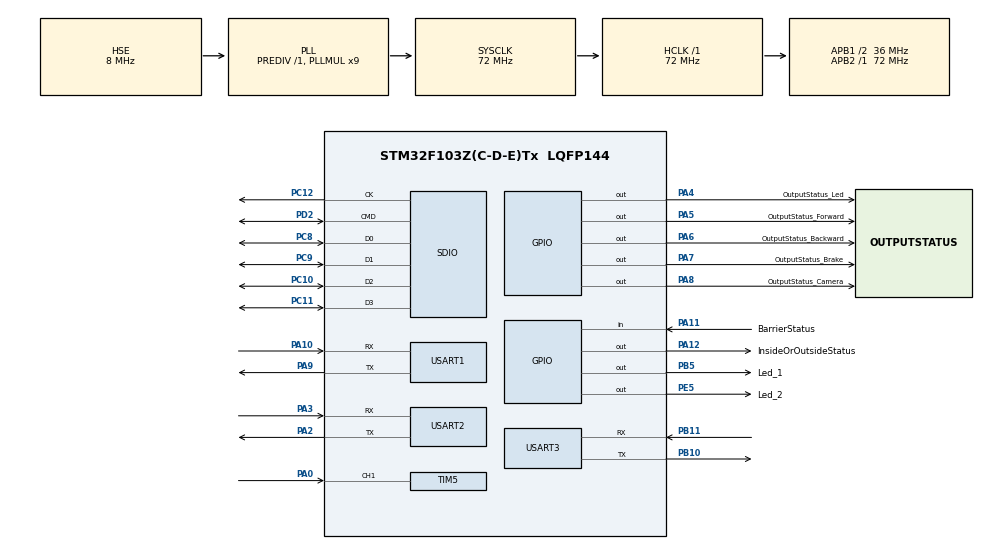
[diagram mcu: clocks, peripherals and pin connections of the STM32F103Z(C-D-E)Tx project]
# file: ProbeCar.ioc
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Dma.Request0=SDIO
Dma.SDIO.0.Direction=DMA_MEMORY_TO_PERIPH
Dma.SDIO.0.Instance=DMA2_Channel4
Dma.SDIO.0.MemDataAlignment=DMA_MDATAALIGN_WORD
Dma.SDIO.0.MemInc=DMA_MINC_ENABLE
Dma.SDIO.0.Mode=DMA_NORMAL
Dma.SDIO.0.PeriphDataAlignment=DMA_PDATAALIGN_WORD
Dma.SDIO.0.PeriphInc=DMA_PINC_DISABLE
Dma.SDIO.0.Priority=DMA_PRIORITY_VERY_HIGH
FATFS._CODE_PAGE=936
FATFS._USE_LFN=2
Mcu.Family=STM32F1
Mcu.Name=STM32F103Z(C-D-E)Tx
Mcu.Package=LQFP144
NVIC.DMA2_Channel4_5_IRQn=true\:3\:0\:true\:false\:true\:false
NVIC.PriorityGroup=NVIC_PRIORITYGROUP_4
NVIC.SDIO_IRQn=true\:1\:0\:true\:false\:true\:true
NVIC.TIM5_IRQn=true\:0\:0\:false\:false\:true\:true
NVIC.TIM6_IRQn=true\:0\:0\:false\:false\:true\:true
NVIC.USART2_IRQn=true\:0\:0\:false\:false\:true\:true
NVIC.USART3_IRQn=true\:0\:0\:false\:false\:true\:true
OSC_IN.Mode=HSE-External-Oscillator
OSC_IN.Signal=RCC_OSC_IN
OSC_OUT.Mode=HSE-External-Oscillator
OSC_OUT.Signal=RCC_OSC_OUT
PA0-WKUP.GPIO_PuPd=GPIO_PULLDOWN
PA0-WKUP.Signal=S_TIM5_CH1
PA10.Mode=Asynchronous
PA10.Signal=USART1_RX
PA11.GPIO_Label=BarrierStatus
PA11.GPIO_PuPd=GPIO_PULLDOWN
PA11.Signal=GPIO_Input
PA12.GPIO_Label=InsideOrOutsideStatus
PA12.GPIO_ModeDefaultOutputPP=GPIO_MODE_OUTPUT_PP
PA12.GPIO_PuPd=GPIO_PULLDOWN
PA12.GPIO_Speed=GPIO_SPEED_FREQ_HIGH
PA12.PinState=GPIO_PIN_SET
PA12.Signal=GPIO_Output
PA2.Mode=Asynchronous
PA2.Signal=USART2_TX
PA3.Mode=Asynchronous
PA3.Signal=USART2_RX
PA4.GPIO_Label=OutputStatus_Led
PA4.GPIO_ModeDefaultOutputPP=GPIO_MODE_OUTPUT_PP
PA4.GPIO_PuPd=GPIO_PULLUP
PA4.GPIO_Speed=GPIO_SPEED_FREQ_HIGH
PA4.PinState=GPIO_PIN_SET
PA4.Signal=GPIO_Output
PA5.GPIO_Label=OutputStatus_Forward
PA5.GPIO_PuPd=GPIO_PULLUP
PA5.GPIO_Speed=GPIO_SPEED_FREQ_HIGH
PA5.PinState=GPIO_PIN_SET
PA5.Signal=GPIO_Output
PA6.GPIO_Label=OutputStatus_Backward
PA6.GPIO_PuPd=GPIO_PULLUP
PA6.GPIO_Speed=GPIO_SPEED_FREQ_HIGH
PA6.PinState=GPIO_PIN_SET
PA6.Signal=GPIO_Output
PA7.GPIO_Label=OutputStatus_Brake
PA7.GPIO_PuPd=GPIO_PULLUP
PA7.GPIO_Speed=GPIO_SPEED_FREQ_HIGH
PA7.PinState=GPIO_PIN_SET
PA7.Signal=GPIO_Output
PA8.GPIO_Label=OutputStatus_Camera
PA8.GPIO_ModeDefaultOutputPP=GPIO_MODE_OUTPUT_PP
PA8.GPIO_PuPd=GPIO_PULLUP
PA8.GPIO_Speed=GPIO_SPEED_FREQ_HIGH
PA8.PinState=GPIO_PIN_SET
PA8.Signal=GPIO_Output
PA9.Mode=Asynchronous
PA9.Signal=USART1_TX
PB10.Mode=Asynchronous
PB10.Signal=USART3_TX
PB11.Mode=Asynchronous
PB11.Signal=USART3_RX
PB5.GPIO_Label=Led_1
PB5.GPIO_PuPd=GPIO_PULLUP
PB5.GPIO_Speed=GPIO_SPEED_FREQ_HIGH
PB5.PinState=GPIO_PIN_SET
PB5.Signal=GPIO_Output
PC10.Mode=SD_4_bits_Wide_bus
PC10.Signal=SDIO_D2
PC11.Mode=SD_4_bits_Wide_bus
PC11.Signal=SDIO_D3
PC12.Mode=SD_4_bits_Wide_bus
PC12.Signal=SDIO_CK
PC8.Mode=SD_4_bits_Wide_bus
PC8.Signal=SDIO_D0
PC9.Mode=SD_4_bits_Wide_bus
PC9.Signal=SDIO_D1
PD2.Mode=SD_4_bits_Wide_bus
PD2.Signal=SDIO_CMD
PE5.GPIO_Label=Led_2
PE5.GPIO_PuPd=GPIO_PULLUP
PE5.GPIO_Speed=GPIO_SPEED_FREQ_HIGH
PE5.PinState=GPIO_PIN_SET
PE5.Signal=GPIO_Output
ProjectManager.HeapSize=0x400
ProjectManager.StackSize=0x1000
ProjectManager.TargetToolchain=MDK-ARM V5
RCC.AHBFreq_Value=72000000
RCC.APB1CLKDivider=RCC_HCLK_DIV2
RCC.APB1Freq_Value=36000000
RCC.APB1TimFreq_Value=72000000
RCC.APB2Freq_Value=72000000
RCC.APB2TimFreq_Value=72000000
RCC.HCLKFreq_Value=72000000
RCC.PLLMUL=RCC_PLL_MUL9
RCC.PLLSourceVirtual=RCC_PLLSOURCE_HSE
RCC.SYSCLKFreq_VALUE=72000000
RCC.SYSCLKSource=RCC_SYSCLKSOURCE_PLLCLK
RCC.USBFreq_Value=72000000
SDIO.ClockDiv=4
SH.S_TIM5_CH1.0=TIM5_CH1,Input_Capture1_from_TI1
TIM5.Channel-Input_Capture1_from_TI1=TIM_CHANNEL_1
TIM5.Period=0xFFFF
TIM5.Prescaler=71
TIM6.Period=999
TIM6.Prescaler=71
USART1.VirtualMode=VM_ASYNC
USART2.VirtualMode=VM_ASYNC
USART3.VirtualMode=VM_ASYNC
VP_FATFS_VS_SDIO.Mode=SDIO
VP_SYS_VS_ND.Mode=No_Debug
VP_TIM5_VS_ClockSourceINT.Mode=Internal
VP_TIM6_VS_ClockSourceINT.Mode=Enable_Timer
board=custom

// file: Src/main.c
/**
  ******************************************************************************
  * @file           : main.c
  * @brief          : Main program body
  ******************************************************************************
  * This notice applies to any and all portions of this file
  * that are not between comment pairs USER CODE BEGIN and
  * USER CODE END. Other portions of this file, whether
  * inserted by the user or by software development tools
  * are owned by their respective copyright owners.
  *
  * Copyright (c) 2018 STMicroelectronics International N.V.
  * All rights reserved.
  *
  * Redistribution and use in source and binary forms, with or without
  * modification, are permitted, provided that the following conditions are met:
  *
  * 1. Redistribution of source code must retain the above copyright notice,
  *    this list of conditions and the following disclaimer.
  * 2. Redistributions in binary form must reproduce the above copyright notice,
  *    this list of conditions and the following disclaimer in the documentation
  *    and/or other materials provided with the distribution.
  * 3. Neither the name of STMicroelectronics nor the names of other
  *    contributors to this software may be used to endorse or promote products
  *    derived from this software without specific written permission.
  * 4. This software, including modifications and/or derivative works of this
  *    software, must execute solely and exclusively on microcontroller or
  *    microprocessor devices manufactured by or for STMicroelectronics.
  * 5. Redistribution and use of this software other than as permitted under
  *    this license is void and will automatically terminate your rights under
  *    this license.
  *
  * THIS SOFTWARE IS PROVIDED BY STMICROELECTRONICS AND CONTRIBUTORS "AS IS"
  * AND ANY EXPRESS, IMPLIED OR STATUTORY WARRANTIES, INCLUDING, BUT NOT
  *
  LIMITED TO, THE IMPLIED WARRANTIES OF MERCHANTABILITY, FITNESS FOR A
  * PARTICULAR PURPOSE AND NON-INFRINGEMENT OF THIRD PARTY INTELLECTUAL PROPERTY
  * RIGHTS ARE DISCLAIMED TO THE FULLEST EXTENT PERMITTED BY LAW. IN NO EVENT
  * SHALL STMICROELECTRONICS OR CONTRIBUTORS BE LIABLE FOR ANY DIRECT, INDIRECT,
  * INCIDENTAL, SPECIAL, EXEMPLARY, OR CONSEQUENTIAL DAMAGES (INCLUDING, BUT NOT
  * LIMITED TO, PROCUREMENT OF SUBSTITUTE GOODS OR SERVICES; LOSS OF USE, DATA,
  * OR PROFITS; OR BUSINESS INTERRUPTION) HOWEVER CAUSED AND ON ANY THEORY OF
  * LIABILITY, WHETHER IN CONTRACT, STRICT LIABILITY, OR TORT (INCLUDING
  * NEGLIGENCE OR OTHERWISE) ARISING IN ANY WAY OUT OF THE USE OF THIS SOFTWARE,
  * EVEN IF ADVISED OF THE POSSIBILITY OF SUCH DAMAGE.
  *
  ******************************************************************************
  */
#include "main.h"
#include "stm32f1xx_hal.h"
#include "dma.h"
#include "fatfs.h"
#include "sdio.h"
#include "tim.h"
#include "usart.h"
#include "gpio.h"

/* USER CODE BEGIN Includes */
#include "led.h"
#include "stdio.h"
#include "control.h"
/* USER CODE END Includes */

/* USER CODE BEGIN PV */
/* Private variables ---------------------------------------------------------*/
uint8_t aRxBuffer_1;			                  //接收中断缓冲
uint8_t Uart1_RxBuff[256];		              //接收缓冲
uint8_t Uart1_Rx_Cnt = 0;		                //接收缓冲计数
uint8_t aRxBuffer_2;			                  //接收中断缓冲
uint8_t Uart2_RxBuff[256];		              //接收缓冲
uint8_t Uart2_Rx_Cnt = 0;		                //接收缓冲计数
uint8_t aRxBuffer_3;			                  //接收中断缓冲
uint8_t Uart3_RxBuff[256];		              //接收缓冲
uint8_t Uart3_Rx_Cnt = 0;		                //接收缓冲计数

STRUCT_CAPTURE strCapture = { 0, 0, 0 };

uint32_t TimeCounter = 0,Time_Sec = 0;      //定义时间相关变量
uint16_t Height = 0;
float carSpeed,carSpeedLast,carDistance;    //定义小车速度、小车里程
uint8_t carStatus = 0;                      //小车状态,默认停止
uint8_t probeStatus = 0;                    //检测状态,默认无障碍
uint8_t sendListFlag = 0;
uint32_t sendListPage = 0;
uint16_t List[160];

uint8_t timeFlag = 0;

typedef enum {FAILED = 0, PASSED = !FAILED} TestStatus;
/* 私有宏定义 ----------------------------------------------------------------*/
#define BLOCK_SIZE            512         // SD卡块大小
#define NUMBER_OF_BLOCKS      8           // 测试块数量(小于15)
#define WRITE_READ_ADDRESS    0x00002000  // 测试读写地址

/* 私有变量 ------------------------------------------------------------------*/
__align(4) uint32_t Buffer_Block_Tx[BLOCK_SIZE*NUMBER_OF_BLOCKS]; // 写数据缓存
__align(4) uint32_t Buffer_Block_Rx[BLOCK_SIZE*NUMBER_OF_BLOCKS]; // 读数据缓存
HAL_StatusTypeDef sd_status;    // HAL库函数操作SD卡函数返回值：操作结果
TestStatus test_status;           // 数据测试结果

FATFS fs;                 // Work area (file system object) for logical drive
FIL fil;                  // file objects
uint32_t byteswritten;                /* File write counts */
uint32_t bytesread;                   /* File read counts */
uint8_t wtext[] = "障碍物检测位置列表"; /* File write buffer */
uint8_t SD_SendData[20] = {'\r','\n',' ',' ',' ',' ',' ',' ',':',' ',' ',' ',' ',' ',' ',' ',' ',' ',' ',' '};
/*---------------------------0----1---2---3---4---5---6---7---8---9--10--11--12--13--14--15--16--17--18--19--*/
uint8_t rtext[100];                     /* File read buffers */
char filename[] = "障碍物检测位置列表.txt";
extern DMA_HandleTypeDef hdma_sdio;

/* USER CODE END PV */

void SystemClock_Config(void);

/* USER CODE BEGIN PFP */
/* Private function prototypes -----------------------------------------------*/

HAL_StatusTypeDef SD_DMAConfigRx(SD_HandleTypeDef *hsd);
HAL_StatusTypeDef SD_DMAConfigTx(SD_HandleTypeDef *hsd);

/* USER CODE END PFP */

int main(void)
{
  /* USER CODE BEGIN 1 */
  uint32_t ulTmrClk, ulTime;
  /* USER CODE END 1 */

  /* MCU Configuration----------------------------------------------------------*/

  /* Reset of all peripherals, Initializes the Flash interface and the Systick. */
  HAL_Init();

  /* Configure the system clock */
  SystemClock_Config();

  /* Initialize all configured peripherals */
  MX_GPIO_Init();
  MX_DMA_Init();
  MX_TIM6_Init();
  MX_USART1_UART_Init();
  MX_USART2_UART_Init();
  MX_USART3_UART_Init();
  MX_TIM5_Init();
  MX_SDIO_SD_Init();
  MX_FATFS_Init();
  /* USER CODE BEGIN 2 */
	//HAL_UART_Receive_IT(&huart1, (uint8_t *)&aRxBuffer_1, 1);   //开启串口接收中断
	HAL_UART_Receive_IT(&huart2, (uint8_t *)&aRxBuffer_2, 1);     //开启串口接收中断
	HAL_UART_Receive_IT(&huart3, (uint8_t *)&aRxBuffer_3, 1);     //开启串口接收中断

  HAL_TIM_Base_Start_IT(&htim6);                                //使能TIM6定时器中断

  /* 获取定时器时钟周期 */
	ulTmrClk = HAL_RCC_GetHCLKFreq()/GENERAL_TIM_PRESCALER;
  /* 启动定时器 */
  HAL_TIM_Base_Start_IT(&htim5);
  /* 启动定时器通道输入捕获并开启中断 */
  HAL_TIM_IC_Start_IT(&htim5,GENERAL_TIM_CHANNELx);

  printf("System is Ok!\n");
  sendEnd();
  printf("page 0");                                             //初始化串口屏
  sendEnd();
  HAL_Delay(1000);HAL_Delay(1000);HAL_Delay(1000);HAL_Delay(1000);
  printf("t12.txt=\"SD卡错误！请检查SD卡\"");                                             //初始化串口屏
  sendEnd();
//  SD_EraseTest();
//  SD_Write_Read_Test();  3
  Fatfs_RW_test();
  sendEnd();
  printf("t12.txt=\"中铁障碍物探测车\"");                                             //初始化串口屏
  sendEnd();
  /* USER CODE END 2 */

  /* Infinite loop */
  /* USER CODE BEGIN WHILE */
  while (1)
  {
    if(strCapture.ucFinishFlag == 1 )
		{
      /* 计算高电平计数值 */
			ulTime = strCapture .usPeriod * 0xFFFF + strCapture .usCtr;
			/* 打印高电平脉宽时间 */
			printf ( ">>测得高电平脉宽时间：%d.%d s\n", ulTime / ulTmrClk, ulTime % ulTmrClk );
			carSpeed = UnitWheelLength/(ulTime / ulTmrClk+ulTime % ulTmrClk/1000000.0);
      carSpeed/=100.0;                                          //将速度转换为m/s
      if(carSpeed-carSpeedLast>2||carSpeedLast-carSpeed>2)      //限幅滤波
          carSpeed = carSpeedLast;
      carSpeedLast = carSpeed;
      printf ( ">>测得小车速度：%f\n", carSpeed);
      strCapture .ucFinishFlag = 0;
		}
    barrierScan();                                              //障碍物状态检测
    updateData();
    LED_TOGGLE;                                                 //led翻转
    HAL_Delay(200);                                             //系统延时

//    t++;
//    writeToSD(t,t,SD_SendData);
  /* USER CODE END WHILE */

  }

}

void SystemClock_Config(void)
{

  RCC_OscInitTypeDef RCC_OscInitStruct;
  RCC_ClkInitTypeDef RCC_ClkInitStruct;

    /**Initializes the CPU, AHB and APB busses clocks
    */
  RCC_OscInitStruct.OscillatorType = RCC_OSCILLATORTYPE_HSE;
  RCC_OscInitStruct.HSEState = RCC_HSE_ON;
  RCC_OscInitStruct.HSEPredivValue = RCC_HSE_PREDIV_DIV1;
  RCC_OscInitStruct.HSIState = RCC_HSI_ON;
  RCC_OscInitStruct.PLL.PLLState = RCC_PLL_ON;
  RCC_OscInitStruct.PLL.PLLSource = RCC_PLLSOURCE_HSE;
  RCC_OscInitStruct.PLL.PLLMUL = RCC_PLL_MUL9;
  if (HAL_RCC_OscConfig(&RCC_OscInitStruct) != HAL_OK)
  {
    _Error_Handler(__FILE__, __LINE__);
  }

    /**Initializes the CPU, AHB and APB busses clocks
    */
  RCC_ClkInitStruct.ClockType = RCC_CLOCKTYPE_HCLK|RCC_CLOCKTYPE_SYSCLK
                              |RCC_CLOCKTYPE_PCLK1|RCC_CLOCKTYPE_PCLK2;
  RCC_ClkInitStruct.SYSCLKSource = RCC_SYSCLKSOURCE_PLLCLK;
  RCC_ClkInitStruct.AHBCLKDivider = RCC_SYSCLK_DIV1;
  RCC_ClkInitStruct.APB1CLKDivider = RCC_HCLK_DIV2;
  RCC_ClkInitStruct.APB2CLKDivider = RCC_HCLK_DIV1;

  if (HAL_RCC_ClockConfig(&RCC_ClkInitStruct, FLASH_LATENCY_2) != HAL_OK)
  {
    _Error_Handler(__FILE__, __LINE__);
  }

    /**Configure the Systick interrupt time
    */
  HAL_SYSTICK_Config(HAL_RCC_GetHCLKFreq()/1000);

    /**Configure the Systick
    */
  HAL_SYSTICK_CLKSourceConfig(SYSTICK_CLKSOURCE_HCLK);

  /* SysTick_IRQn interrupt configuration */
  HAL_NVIC_SetPriority(SysTick_IRQn, 0, 0);
}

/* USER CODE BEGIN 4 */
/**
  * 函数功能: 定时器输入捕获中断回调函数
  * 输入参数: htim：定时器句柄
  * 返 回 值: 无
  * 说    明: 无
  */
void HAL_TIM_IC_CaptureCallback(TIM_HandleTypeDef *htim)
{
  TIM_IC_InitTypeDef sConfigIC;

  if ( strCapture .ucStartFlag == 0 )
  {
    __HAL_TIM_SET_COUNTER(htim,0); // 清零定时器计数
    strCapture .usPeriod = 0;
    strCapture .usCtr = 0;

    // 配置输入捕获参数，主要是修改触发电平
    sConfigIC.ICPolarity = GENERAL_TIM_STRAT_ICPolarity;
    sConfigIC.ICSelection = TIM_ICSELECTION_DIRECTTI;
    sConfigIC.ICPrescaler = TIM_ICPSC_DIV1;
    sConfigIC.ICFilter = 0;
    HAL_TIM_IC_ConfigChannel(&htim5, &sConfigIC, GENERAL_TIM_CHANNELx);
    // 清除中断标志位
    __HAL_TIM_CLEAR_IT(htim, GENERAL_TIM_IT_CCx);
    // 启动输入捕获并开启中断
    HAL_TIM_IC_Start_IT(&htim5,GENERAL_TIM_CHANNELx);
    strCapture .ucStartFlag = 1;
  }

  else
  {
    // 获取定时器计数值
    strCapture .usCtr = HAL_TIM_ReadCapturedValue(&htim5,GENERAL_TIM_CHANNELx);
    // 配置输入捕获参数，主要是修改触发电平
    sConfigIC.ICPolarity = GENERAL_TIM_STRAT_ICPolarity;
    sConfigIC.ICSelection = TIM_ICSELECTION_DIRECTTI;
    sConfigIC.ICPrescaler = TIM_ICPSC_DIV1;
    sConfigIC.ICFilter = 0;
    HAL_TIM_IC_ConfigChannel(&htim5, &sConfigIC, GENERAL_TIM_CHANNELx);

    // 清除中断标志位
    __HAL_TIM_CLEAR_IT(htim, GENERAL_TIM_IT_CCx);
    // 启动输入捕获并开启中断
    HAL_TIM_IC_Start_IT(&htim5,GENERAL_TIM_CHANNELx);
    strCapture .ucStartFlag = 0;
    strCapture .ucFinishFlag = 1;
  }
}
 //定时器TIM6溢出中断处理回调函数
void HAL_TIM_PeriodElapsedCallback(TIM_HandleTypeDef *htim)
{
    if(TIM5 == htim->Instance)
    {
      strCapture .usPeriod ++;
    }

    if(TIM6 == htim->Instance)
    {
      if(timeFlag>0)
      {
        TimeCounter++;                                          //计时变量++

        if(TimeCounter==1000)
        {
            carDistance+=carSpeed;
            Time_Sec++;                                         //越界清零
            if(Time_Sec>UINT32_MAX-5)
              Time_Sec=0;
            TimeCounter = 0;
            printf("\r\nTime=%d\n",Time_Sec);
          }
        }
     }
}
/**
  * 函数功能: 检查缓冲区的数据是否为0xff或0
  * 输入参数: pBuffer：要比较的缓冲区的指针
  *           BufferLength：缓冲区长度
  * 返 回 值: PASSED：缓冲区的数据全为0xff或0
  *           FAILED：缓冲区的数据至少有一个不为0xff或0
  * 说    明: 无
  */
TestStatus eBuffercmp(uint32_t* pBuffer, uint32_t BufferLength)
{
  while (BufferLength--)
  {
    /* SD卡擦除后的可能值为0xff或0 */
    if ((*pBuffer != 0xFFFFFFFF) && (*pBuffer != 0))
    {
      return FAILED;
    }
    pBuffer++;
  }
  return PASSED;
}

/**
  * 函数功能: SD卡擦除测试
  * 输入参数: 无
  * 返 回 值: 无
  * 说    明: 无
  */
void SD_EraseTest(void)
{
	/* 第1个参数为SD卡句柄，第2个参数为擦除起始地址，第3个参数为擦除结束地址 */
  sd_status=HAL_SD_Erase(&hsd,WRITE_READ_ADDRESS,WRITE_READ_ADDRESS+NUMBER_OF_BLOCKS*4);
   printf("erase status:%d\r\n",sd_status);

	HAL_Delay(500);
  if (sd_status == HAL_OK)
  {
    /* 读取刚刚擦除的区域 */
    sd_status = HAL_SD_ReadBlocks_DMA(&hsd,(uint8_t *)Buffer_Block_Rx,WRITE_READ_ADDRESS,NUMBER_OF_BLOCKS);
    printf("erase read status:%d\r\n",sd_status);
    /* 把擦除区域读出来对比 */
    test_status = eBuffercmp(Buffer_Block_Rx,BLOCK_SIZE*NUMBER_OF_BLOCKS);

    if(test_status == PASSED)
      printf("》擦除测试成功！\r\n" );
    else
      printf("》擦除不成功，数据出错！\r\n" );
  }
  else
  {
    printf("》擦除测试失败！部分SD不支持擦除，只要读写测试通过即可\r\n" );
  }
}

/**
  * 函数功能: 在缓冲区中填写数据
  * 输入参数: pBuffer：要填充的缓冲区
  *           BufferLength：要填充的大小
  *           Offset：填在缓冲区的第一个值
  * 返 回 值: 无
  * 说    明: 无
  */
void Fill_Buffer(uint32_t *pBuffer, uint32_t BufferLength, uint32_t Offset)
{
  uint32_t index = 0;
  /* 填充数据 */
  for (index = 0; index < BufferLength; index++ )
  {
    pBuffer[index] = index + Offset;
  }
}

/**
  * 函数功能: 比较两个缓冲区中的数据是否相等
  * 输入参数: pBuffer1：要比较的缓冲区1的指针
  *           pBuffer2：要比较的缓冲区2的指针
  *           BufferLength：缓冲区长度
  * 返 回 值: PASSED：相等
  *           FAILED：不等
  * 说    明: 无
  */
TestStatus Buffercmp(uint32_t* pBuffer1, uint32_t* pBuffer2, uint32_t BufferLength)
{
  while (BufferLength--)
  {
    if(BufferLength%50==0)
    {
      printf("buf:0x%08X - 0x%08X\r\n",*pBuffer1,*pBuffer2);
    }
    if (*pBuffer1 != *pBuffer2)
    {
      return FAILED;
    }
    pBuffer1++;
    pBuffer2++;
  }
  return PASSED;
}

/**
  * 函数功能: SD卡读写测试
  * 输入参数: 无
  * 返 回 值: 无
  * 说    明: 无
  */
void SD_Write_Read_Test(void)
{
	int i,j = 0;
  /* 填充数据到写缓存 */
  Fill_Buffer(Buffer_Block_Tx,BLOCK_SIZE*NUMBER_OF_BLOCKS, 0x6666);

  /* 往SD卡写入数据 */
  sd_status = HAL_SD_WriteBlocks_DMA(&hsd,(uint8_t *)Buffer_Block_Tx,WRITE_READ_ADDRESS,NUMBER_OF_BLOCKS);
  printf("write status:%d\r\n",sd_status);

  HAL_Delay(500);
  /* 从SD卡读取数据 */
  sd_status = HAL_SD_ReadBlocks_DMA(&hsd,(uint8_t *)Buffer_Block_Rx,WRITE_READ_ADDRESS,NUMBER_OF_BLOCKS);
  printf("read status:%d\r\n",sd_status);

  /* 比较数据 */
  test_status = Buffercmp(Buffer_Block_Tx, Buffer_Block_Rx, BLOCK_SIZE*NUMBER_OF_BLOCKS/4);	//比较
  if(test_status == PASSED)
	{
    printf("》读写测试成功！\r\n" );

		for(i=0;i<BLOCK_SIZE*NUMBER_OF_BLOCKS/4;i++)
		{
			if(j==8)
			{
				printf("\r\n");
				j=0;
			}

			printf("%08x   ",Buffer_Block_Rx[i]);
			j++;
		}
		printf("\r\n");
	}
  else
  	printf("》读写测试失败！\r\n " );
}
/*
*Fatfs文件系统读写测试
*/
void Fatfs_RW_test(void)
{
	  printf("\r\n ****** FatFs Example ******\r\n\r\n");

    /*##-1- Register the file system object to the FatFs module ##############*/
    retSD = f_mount(&fs, "", 1);
    if(retSD)
    {
        printf(" mount error : %d \r\n",retSD);
        Error_Handler();
    }
    else
        printf(" mount sucess!!! \r\n");

    /*##-2- Create and Open new text file objects with write access ######*/
    retSD = f_open(&fil, filename, FA_CREATE_ALWAYS | FA_WRITE);
    if(retSD)
        printf(" open file error : %d\r\n",retSD);
    else
        printf(" open file sucess!!! \r\n");

    /*##-3- Write data to the text files ###############################*/
    retSD = f_write(&fil, wtext, sizeof(wtext), (void *)&byteswritten);
    if(retSD)
        printf(" write file error : %d\r\n",retSD);
    else
    {
        printf(" write file sucess!!! \r\n");
        printf(" write Data : %s\r\n",wtext);
    }
    f_lseek(&fil,f_size(&fil));
    retSD = f_write(&fil, "\r\n---编号---位置---", sizeof("\r\n---编号---位置---"), (void *)&byteswritten);
    if(retSD)
        printf(" write file error : %d\r\n",retSD);
    else
    {
        printf(" write file sucess!!! \r\n");
        printf(" write Data : %s\r\n",wtext);
    }
    /*##-4- Close the open text files ################################*/
    retSD = f_close(&fil);
    if(retSD)
        printf(" close error : %d\r\n",retSD);
    else
        printf(" close sucess!!! \r\n");

//    /*##-5- Open the text files object with read access ##############*/
//    retSD = f_open(&fil, filename, FA_READ);
//    if(retSD)
//        printf(" open file error : %d\r\n",retSD);
//    else
//        printf(" open file sucess!!! \r\n");
//
//    /*##-6- Read data from the text files ##########################*/
//    retSD = f_read(&fil, rtext, sizeof(rtext), (UINT*)&bytesread);
//    if(retSD)
//        printf(" read error!!! %d\r\n",retSD);
//    else
//    {
//        printf(" read sucess!!! \r\n");
//        printf(" read Data : %s\r\n",rtext);
//    }
//
//    /*##-7- Close the open text files ############################*/
//    retSD = f_close(&fil);
//    if(retSD)
//        printf(" close error!!! %d\r\n",retSD);
//    else
//        printf(" close sucess!!! \r\n");
//
//    /*##-8- Compare read data with the expected data ############*/
//    if(bytesread == byteswritten)
//    {
//        printf(" FatFs is working well!!!\r\n");
//    }
}
/**
  * @brief Configure the DMA to receive data from the SD card
  * @retval
  *  HAL_ERROR or HAL_OK
  */
HAL_StatusTypeDef SD_DMAConfigRx(SD_HandleTypeDef *hsd)
{
  HAL_StatusTypeDef status = HAL_ERROR;

  /* Configure DMA Rx parameters */
  hdma_sdio.Instance = DMA2_Channel4;
	hdma_sdio.Init.Direction = DMA_PERIPH_TO_MEMORY;
	hdma_sdio.Init.PeriphInc = DMA_PINC_DISABLE;
	hdma_sdio.Init.MemInc = DMA_MINC_ENABLE;
	hdma_sdio.Init.PeriphDataAlignment = DMA_PDATAALIGN_WORD;
	hdma_sdio.Init.MemDataAlignment = DMA_MDATAALIGN_WORD;
	hdma_sdio.Init.Mode = DMA_NORMAL;
  hdma_sdio.Init.Priority = DMA_PRIORITY_LOW;

  /* Associate the DMA handle */
  __HAL_LINKDMA(hsd,hdmarx,hdma_sdio);

  /* Stop any ongoing transfer and reset the state*/
  HAL_DMA_Abort(&hdma_sdio);

  /* Deinitialize the Channel for new transfer */
  HAL_DMA_DeInit(&hdma_sdio);//注意这里！！！DeInit的是另一个通道！！！

  /* Configure the DMA Channel */
  status = HAL_DMA_Init(&hdma_sdio);

  return (status);
}

/**
  * @brief Configure the DMA to transmit data to the SD card
  * @retval
  *  HAL_ERROR or HAL_OK
  */
HAL_StatusTypeDef SD_DMAConfigTx(SD_HandleTypeDef *hsd)
{
  HAL_StatusTypeDef status;

  /* SDMMC1_TX Init */
	hdma_sdio.Instance = DMA2_Channel4;
	hdma_sdio.Init.Direction = DMA_MEMORY_TO_PERIPH;
	hdma_sdio.Init.PeriphInc = DMA_PINC_DISABLE;
	hdma_sdio.Init.MemInc = DMA_MINC_ENABLE;
	hdma_sdio.Init.PeriphDataAlignment = DMA_PDATAALIGN_WORD;
	hdma_sdio.Init.MemDataAlignment = DMA_MDATAALIGN_WORD;
	hdma_sdio.Init.Mode = DMA_NORMAL;//这里NORMAL或其他都可以，无所谓
	hdma_sdio.Init.Priority = DMA_PRIORITY_LOW;

  /* Associate the DMA handle */
  __HAL_LINKDMA(hsd, hdmatx, hdma_sdio);

  /* Stop any ongoing transfer and reset the state*/
  HAL_DMA_Abort(&hdma_sdio);

  /* Deinitialize the Channel for new transfer */
  HAL_DMA_DeInit(&hdma_sdio);  //注意这里！！！DeInit的是另一个通道！！！

  /* Configure the DMA Channel */
  status = HAL_DMA_Init(&hdma_sdio);

  return (status);
}

void writeToSD(uint32_t Counter,uint32_t Distance,uint8_t Array[])
{
	Array[7]=Counter%10+48;
  Array[6]=Counter/10%10+48;
	Array[5]=Counter/100%10+48;
	Array[4]=Counter/1000%10+48;
	Array[3]=Counter/10000%10+48;
	Array[2]=Counter/100000%10+48;

	Array[14]=Distance%10+48;
    Array[13]=Distance/10%10+48;
	Array[12]=Distance/100%10+48;
	Array[11]=Distance/1000%10+48;
	Array[10]=Distance/10000%10+48;
	Array[9]=Distance/100000%10+48;

    retSD = f_open(&fil, filename, FA_WRITE);
    f_lseek(&fil,f_size(&fil));
    if(retSD)
        printf(" open file error : %d\r\n",retSD);
    else
        printf(" open file sucess!!! \r\n");

    /*##-3- Write data to the text files ###############################*/
    retSD = f_write(&fil, Array, 20, (void *)&byteswritten);
    if(retSD)
        printf(" write file error : %d\r\n",retSD);
    else
    {
        printf(" write file sucess!!! \r\n");
        printf(" write Data : %s\r\n",Array);
    }

    /*##-4- Close the open text files ################################*/
    retSD = f_close(&fil);
    if(retSD)
        printf(" close error : %d\r\n",retSD);
    else
        printf(" close sucess!!! \r\n");
}
/*
*printf函数输出重定向
*/
//加入以下代码,支持printf函数，使用printf函数从串口输出。
#if 1
#pragma import(__use_no_semihosting)
//标准库需要的支持函数
struct __FILE
{
	int handle;
};

FILE __stdout;
//定义_sys_exit()以避免使用半主机模式
void _sys_exit(int x)
{
	x = x;
}
//重定义fputc函数
int fputc(int ch, FILE *f)
{
	while((USART1->SR&0X40)==0);//循环发送,直到发送完毕
	USART1->DR=(uint8_t)ch;
	return ch;
}
#endif
/* USER CODE END 4 */

void _Error_Handler(char *file, int line)
{
  while(1)
  {
  }
}

/************************ (C) COPYRIGHT STMicroelectronics *****END OF FILE****/
